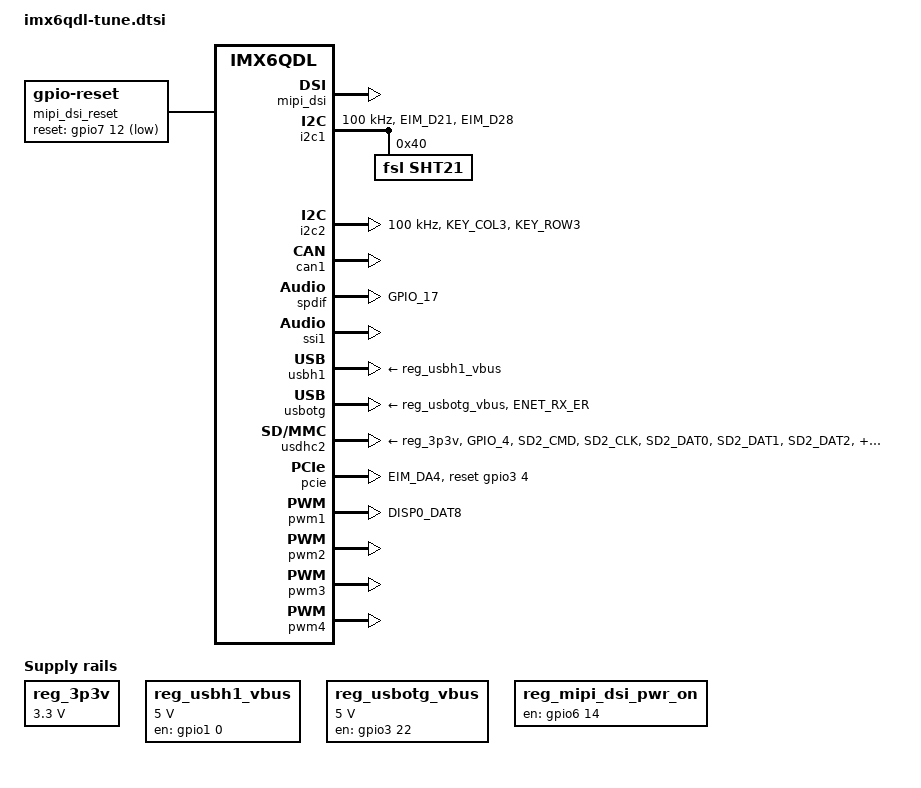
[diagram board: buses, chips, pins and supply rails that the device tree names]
/*
 * Copyright (C) 2013,2014 Russell King
 * Copyright (C) 2015 Simon Stürz <simon.stuerz@guh.guru>
 */

#include "imx6qdl-microsom.dtsi"
#include "imx6qdl-microsom-ar8035.dtsi"

/ {
	chosen {
		bootargs = "quiet console=ttymxc0,115200 root=/dev/mmcblk0p1 rw";
	};

	aliases {
		mxcfb0 = &mxcfb1;
	};

	regulators {
		compatible = "simple-bus";

		reg_3p3v: 3p3v {
			compatible = "regulator-fixed";
			regulator-name = "3P3V";
			regulator-min-microvolt = <3300000>;
			regulator-max-microvolt = <3300000>;
			regulator-always-on;
		};

		reg_usbh1_vbus: usb-h1-vbus {
			compatible = "regulator-fixed";
			enable-active-high;
			gpio = <&gpio1 0 0>;
			pinctrl-names = "default";
            		pinctrl-0 = <&pinctrl_tune_usbh1_vbus>;
			regulator-name = "usb_h1_vbus";
			regulator-min-microvolt = <5000000>;
			regulator-max-microvolt = <5000000>;
		};

		reg_usbotg_vbus: usb-otg-vbus {
			compatible = "regulator-fixed";
			enable-active-high;
			gpio = <&gpio3 22 0>;
			pinctrl-names = "default";
			pinctrl-0 = <&pinctrl_tune_usbotg_vbus>;
			regulator-name = "usb_otg_vbus";
			regulator-min-microvolt = <5000000>;
			regulator-max-microvolt = <5000000>;
		};

                reg_mipi_dsi_pwr_on: mipi_dsi_pwr_on {
                        compatible = "regulator-fixed";
                        regulator-name = "mipi_dsi_pwr_on";
                        gpio = <&gpio6 14 0>;
                        enable-active-high;
                };
	};

	mipi_dsi_reset: mipi-dsi-reset {
                compatible = "gpio-reset";
                reset-gpios = <&gpio7 12 GPIO_ACTIVE_LOW>;
                reset-delay-us = <50>;
                #reset-cells = <0>;
        };

        mxcfb1: fb@0 {
                compatible = "fsl,mxc_sdc_fb";
                disp_dev = "mipi_dsi";
                interface_pix_fmt = "RGB565";
                mode_str ="OTM3201A";
                default_bpp = <24>;
                int_clk = <0>;
                late_init = <0>;
                status = "okay";
        };
};

&mipi_dsi {
        dev_id = <0>;
        disp_id = <0>;
        lcd_panel = "OTM3201A";
        disp-power-on-supply = <&reg_mipi_dsi_pwr_on>;
        resets = <&mipi_dsi_reset>;
        status = "okay";
};

&i2c1 {
	clock-frequency = <100000>;
	pinctrl-names = "default";
	pinctrl-0 = <&pinctrl_tune_i2c1>;
	status = "okay";
	
	sht21: sht21@40 {
		compatible = "fsl,sht21";
		reg = <0x40>;
	};
};

&i2c2 {
	clock-frequency = <100000>;
	pinctrl-names = "default";
	pinctrl-0 = <&pinctrl_tune_i2c2>;
	status = "okay";
};

&can1 {
	pinctrl-names = "default";
	status = "okay";
};

&iomuxc {
	pinctrl-names = "default";
	pinctrl-0 = <&pinctrl_hog>;
	tune {
		pinctrl_hog: hoggrp {
			fsl,pins = <
				/*
				 * 26 pin header GPIO description. The pins 
				 * numbering as following -
				 * GPIO number | GPIO (bank,num) |  PIN number
				 * ------------+-----------------+------------
				 * gpio1       | (1,1)           | IO7
				 * gpio73      | (3,9)           | IO11
				 * gpio72      | (3,8)           | IO12
				 * gpio71      | (3,7)           | IO13
				 * gpio70      | (3,6)           | IO15
				 * gpio194     | (7,2)           | IO16
				 * gpio195     | (7,3)           | IO18
				 * gpio67      | (3,3)           | IO22
				 *
				 * Notice the gpioX and GPIO (Y,Z) mapping forumla :
				 * X = (Y-1) * 32 + Z
				 */
				MX6QDL_PAD_GPIO_1__GPIO1_IO01 0x400130b1
				MX6QDL_PAD_EIM_DA9__GPIO3_IO09 0x400130b1
				MX6QDL_PAD_EIM_DA8__GPIO3_IO08 0x400130b1
				MX6QDL_PAD_EIM_DA7__GPIO3_IO07 0x400130b1
				MX6QDL_PAD_EIM_DA6__GPIO3_IO06 0x400130b1
				MX6QDL_PAD_SD3_CMD__GPIO7_IO02 0x400130b1
				MX6QDL_PAD_SD3_CLK__GPIO7_IO03 0x400130b1
				MX6QDL_PAD_EIM_DA3__GPIO3_IO03 0x400130b1
			>;
		};

        pinctrl_tune_gpio3_5: tune-gpio3_5 {
			fsl,pins = <
				MX6QDL_PAD_EIM_DA5__GPIO3_IO05 0x80000000
			>;
		};

	pinctrl_tune_spdif: tune-spdif {
		fsl,pins = <
			MX6QDL_PAD_GPIO_17__SPDIF_OUT 0x13091
		>;
	};

        pinctrl_tune_i2c1: tune-i2c1 {
			fsl,pins = <
				MX6QDL_PAD_EIM_D21__I2C1_SCL 0x4001b8b1
				MX6QDL_PAD_EIM_D28__I2C1_SDA 0x4001b8b1
			>;
		};

        pinctrl_tune_i2c2: tune-i2c2 {
			fsl,pins = <
				MX6QDL_PAD_KEY_COL3__I2C2_SCL 0x4001b8b1
				MX6QDL_PAD_KEY_ROW3__I2C2_SDA 0x4001b8b1
			>;
		};

        pinctrl_tune_usbh1_vbus: tune-usbh1-vbus {
			fsl,pins = <MX6QDL_PAD_GPIO_0__GPIO1_IO00 0x1b0b0>;
		};

        pinctrl_tune_usbotg_id: tune-usbotg-id {
			/*
			 * Similar to pinctrl_usbotg_2, but we want it
			 * pulled down for a fixed host connection.
			 */
			fsl,pins = <MX6QDL_PAD_ENET_RX_ER__USB_OTG_ID 0x13059>;
		};

        pinctrl_tune_usbotg_vbus: tune-usbotg-vbus {
			fsl,pins = <MX6QDL_PAD_EIM_D22__GPIO3_IO22 0x1b0b0>;
		};

        pinctrl_tune_usdhc2_aux: tune-usdhc2-aux {
			fsl,pins = <
				MX6QDL_PAD_GPIO_4__GPIO1_IO04    0x1f071
			>;
		};

        pinctrl_tune_usdhc2: tune-usdhc2 {
			fsl,pins = <
				MX6QDL_PAD_SD2_CMD__SD2_CMD    0x17059
				MX6QDL_PAD_SD2_CLK__SD2_CLK    0x10059
				MX6QDL_PAD_SD2_DAT0__SD2_DATA0 0x17059
				MX6QDL_PAD_SD2_DAT1__SD2_DATA1 0x17059
				MX6QDL_PAD_SD2_DAT2__SD2_DATA2 0x17059
				MX6QDL_PAD_SD2_DAT3__SD2_DATA3 0x13059
			>;
		};

        pinctrl_tune_pcie_reset: tune-pcie-reset {
			fsl,pins = <
				MX6QDL_PAD_EIM_DA4__GPIO3_IO04 0x80000000
			>;
		};

		pinctrl_pwm1: pwm1grp {
			fsl,pins = <
				MX6QDL_PAD_DISP0_DAT8__PWM1_OUT 0x1b0b1
			>;
		};

	};
};

&spdif {
	pinctrl-names = "default";
	pinctrl-0 = <&pinctrl_tune_spdif>;
	clocks = <&clks 197>, <&clks 0>,
		 <&clks 197>, <&clks 0>,
		 <&clks 0>,   <&clks 0>,
		 <&clks 0>,   <&clks 0>,
		 <&clks 0>;
	clock-names = "core",  "rxtx0",
		      "rxtx1", "rxtx2",
		      "rxtx3", "rxtx4",
		      "rxtx5", "rxtx6",
		      "rxtx7";
	status = "okay";
};

&ssi1 {
	fsl,mode = "i2s-slave";
	status = "okay";
};

&usbh1 {
	disable-over-current;
	vbus-supply = <&reg_usbh1_vbus>;
	status = "okay";
};

&usbotg {
	disable-over-current;
	pinctrl-names = "default";
	pinctrl-0 = <&pinctrl_tune_usbotg_id>;
	vbus-supply = <&reg_usbotg_vbus>;
	status = "okay";
};

&usdhc2 {
	pinctrl-names = "default";
	pinctrl-0 = <
        	&pinctrl_tune_usdhc2_aux
        	&pinctrl_tune_usdhc2
	>;
	vmmc-supply = <&reg_3p3v>;
	cd-gpios = <&gpio1 4 0>;
	status = "okay";
};

&gpc {
	fsl,cpu_pupscr_sw2iso = <0xf>;
	fsl,cpu_pupscr_sw = <0xf>;
	fsl,cpu_pdnscr_iso2sw = <0x1>;
	fsl,cpu_pdnscr_iso = <0x1>;
};

&pcie {
	pinctrl-names = "default";
	pinctrl-0 = <
        	&pinctrl_tune_pcie_reset
	>;
	reset-gpio = <&gpio3 4 0>;
	status = "okay";
	no-msi;
};

&pwm1 {
        pinctrl-names = "default";
        pinctrl-0 = <&pinctrl_pwm1>;
        status = "okay";
};

&pwm2 {
        pinctrl-names = "default";
        status = "okay";
};

&pwm3 {
        pinctrl-names = "default";
	status = "okay";
};

&pwm4 {
        pinctrl-names = "default";
	status = "okay";
};

